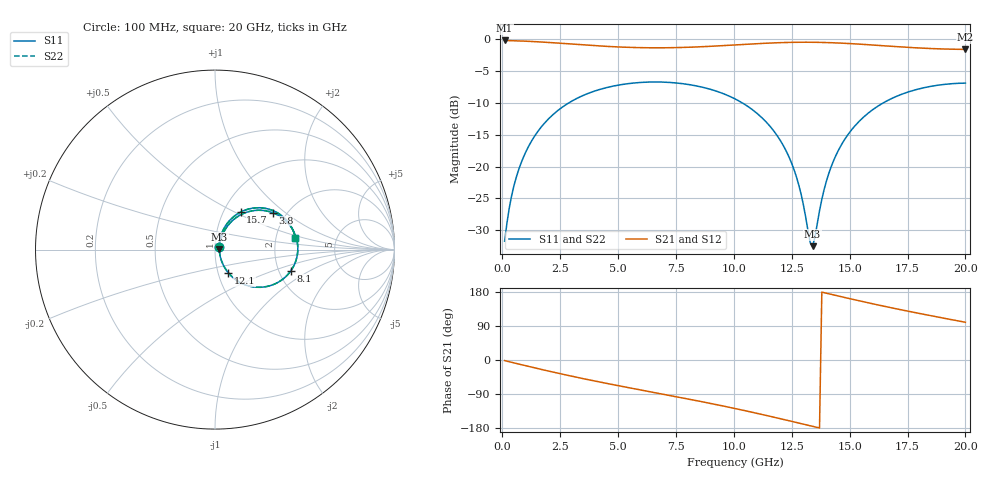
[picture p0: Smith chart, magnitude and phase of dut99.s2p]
! Touchstone file exported from HFSS 2026.1.0
!  File:  C:/ffzhzh/LocalFiles/Ansys_Project_Files/temp_train_TSV_RDL_99_1782974189_6388.aedt
!  Generated:  02:47:42 PM Jul  2, 2026
!  Design:  TSV_RDL
!  Project:  temp_train_TSV_RDL_99_1782974189_6388
! Variables:
!  h_bsmrdl = 4.81um
!  h_ox = 20um
!  h_rdl = 5um
!  h_sub = 58.76um
!  h_tmrdl = 3.5um
!  h_tsv = 58.76um
!  h_via = 3um
!  l_bsmrdl = 344.09um
!  l_sub = 4589.64um
!  l_tmrdl = 758.45um
!  m_sub = 200um
!  pitch = 37.97um
!  r_tsv = 5.69um
!  s_tmrdl = 10um
!  w_bsmrdl = 22.31um
!  w_sub = 500um
!  w_tmrdl = 18.88um
!  x_tsv_center1 = 767.89um
!  x_tsv_center2 = 1134.29um
!  x_tsv_center3 = 1911.62um
!  x_tsv_center4 = 2278.02um
!  x_tsv_center5 = 3055.35um
!  x_tsv_center6 = 3421.75um
# GHz S MA R 50.000000
! Terminal data exported
! Port[1] = TM_RDL1_1_T1
! Port[2] = TM_RDL5_1_T1
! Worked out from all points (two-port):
!   200 points, 100 MHz to 20 GHz, reference 50 ohm
!   highest |S21| = -0.19 dB at 100 MHz (marker M1); lowest = -1.6 dB at 20 GHz (marker M2)
!   |S21| within 3 dB of the highest: start of sweep to end of sweep
!   lowest |S11| = -32.5 dB at 13.4 GHz (marker M3), VSWR 1.05, Z = 52.4 + j0.404 ohm
!   |S11| at or under -10 dB: start of sweep to 2.873 GHz; 10.36 GHz to 16.45 GHz (6.091 GHz wide, 45.4 % of centre)
!   |S22| runs from -32.4 to -6.7 dB; largest |S21 - S12| = 1.6e-14
!   S11 on the Smith chart (normalised r, x): 100 MHz: 1.04, +0.03; 3.8 GHz: 1.70, +0.82; 8.1 GHz: 2.33, -0.68; 12.1 GHz: 1.12, -0.30; 15.7 GHz: 1.20, +0.54; 20 GHz: 2.58, +0.40
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0.1  0.02592 31.5  0.9782 -1.6  0.9782 -1.6  0.02592 31.5
! Gamma 0 0 0 0
! Port Impedance 50 0 50 0
0.3  0.04709 55.2  0.9755 -4.6  0.9755 -4.6  0.04709 55.2
0.5  0.07024 61.4  0.9728 -7.6  0.9728 -7.6  0.07024 61.4
1.2  0.1513 61.9  0.9619 -17.9  0.9619 -17.9  0.1513 61.9
2.2  0.2568 51.7  0.9384 -32.0  0.9384 -32.0  0.2568 51.7
3.5  0.3622 36.3  0.9027 -49.3  0.9027 -49.3  0.3622 36.3
3.8  0.381 32.7  0.895 -53.1  0.895 -53.1  0.381 32.7
6.8  0.4612 -1.0  0.8563 -88.6  0.8563 -88.6  0.4611 -1.0
8.1  0.4392 -15.5  0.8656 -103.8  0.8656 -103.8  0.4392 -15.4
10.1  0.3363 -38.5  0.9033 -128.7  0.9033 -128.7  0.3363 -38.5
11.2  0.2429 -51.3  0.927 -143.5  0.927 -143.5  0.2429 -51.2
12.1  0.1501 -60.2  0.9414 -156.2  0.9414 -156.2  0.1501 -60.0
12.7  0.08321 -61.2  0.9465 -164.9  0.9465 -164.9  0.08329 -60.9
13.3  0.02518 -17.1  0.9471 -173.6  0.9471 -173.6  0.02553 -16.7
13.4  0.02368 9.4  0.9467 -175.1  0.9467 -175.1  0.02405 9.3
13.9  0.06609 64.6  0.943 177.6  0.943 177.6  0.06624 64.3
14.3  0.1103 67.6  0.9378 171.9  0.9378 171.9  0.1104 67.4
14.9  0.1751 63.9  0.9269 163.3  0.9269 163.3  0.1752 63.8
15.7  0.2535 55.7  0.9084 152.3  0.9084 152.3  0.2535 55.6
16.7  0.3342 44.3  0.8829 139.1  0.8829 139.1  0.3342 44.2
18.2  0.4156 27.4  0.85 120.6  0.85 120.6  0.4156 27.3
20  0.4522 7.9  0.8326 99.6  0.8326 99.6  0.4522 7.9
